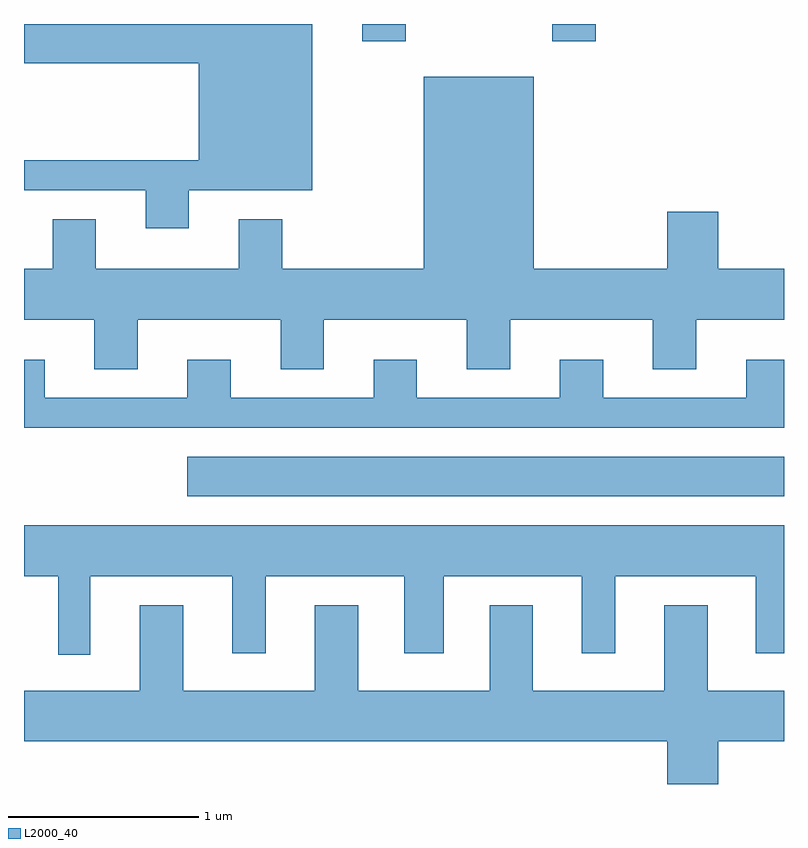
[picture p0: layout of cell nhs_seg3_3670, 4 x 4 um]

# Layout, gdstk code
import gdstk
lib = gdstk.Library(unit=1e-6, precision=1e-09)
def R(c, l, rs):  # rectangles x0, y0, x1, y1
    for r in rs: c.add(gdstk.rectangle(r[:2], r[2:], *l))
def P(c, l, *ps):  # polygons
    for p in ps: c.add(gdstk.Polygon(p, *l))
L2000_40 = (2000, 40)

nhs_seg3_3670 = lib.new_cell('nhs_seg3_3670')
R(nhs_seg3_3670, L2000_40, [(292.471,1249.406,295.611,1249.614), (293.391,1251.801,293.619,1251.892), (294.391,1251.801,294.619,1251.892)])
P(nhs_seg3_3670, L2000_40, [(292.479,1251.016),(293.129,1251.016),(293.129,1251.892),(291.611,1251.892),(291.611,1251.686),(292.531,1251.686),(292.531,1251.174),(291.611,1251.174),(291.611,1251.016),(292.251,1251.016),(292.251,1250.816),(292.479,1250.816)],
  [(292.741,1250.604),(291.989,1250.604),(291.989,1250.864),(291.761,1250.864),(291.761,1250.604),(291.611,1250.604),(291.611,1250.336),(291.981,1250.336),(291.981,1250.076),(292.209,1250.076),(292.209,1250.336),(292.961,1250.336),(292.961,1250.076),(293.189,1250.076),(293.189,1250.336),(293.941,1250.336),(293.941,1250.076),(294.169,1250.076),(294.169,1250.336),(294.921,1250.336),(294.921,1250.076),(295.149,1250.076),(295.149,1250.336),(295.611,1250.336),(295.611,1250.604),(295.264,1250.604),(295.264,1250.904),(294.996,1250.904),(294.996,1250.604),(294.294,1250.604),(294.294,1251.614),(293.716,1251.614),(293.716,1250.604),(292.969,1250.604),(292.969,1250.864),(292.741,1250.864)],
  [(295.611,1250.124),(295.411,1250.124),(295.411,1249.924),(294.659,1249.924),(294.659,1250.124),(294.431,1250.124),(294.431,1249.924),(293.679,1249.924),(293.679,1250.124),(293.451,1250.124),(293.451,1249.924),(292.699,1249.924),(292.699,1250.124),(292.471,1250.124),(292.471,1249.924),(291.719,1249.924),(291.719,1250.124),(291.611,1250.124),(291.611,1249.766),(295.611,1249.766)],
  [(291.959,1248.986),(292.706,1248.986),(292.706,1248.581),(292.884,1248.581),(292.884,1248.986),(293.611,1248.986),(293.611,1248.581),(293.819,1248.581),(293.819,1248.986),(294.546,1248.986),(294.546,1248.581),(294.724,1248.581),(294.724,1248.986),(295.461,1248.986),(295.461,1248.581),(295.611,1248.581),(295.611,1249.254),(291.611,1249.254),(291.611,1248.986),(291.791,1248.986),(291.791,1248.573),(291.959,1248.573)],
  [(295.264,1248.116),(295.611,1248.116),(295.611,1248.384),(295.209,1248.384),(295.209,1248.834),(294.981,1248.834),(294.981,1248.384),(294.289,1248.384),(294.289,1248.834),(294.061,1248.834),(294.061,1248.384),(293.369,1248.384),(293.369,1248.834),(293.141,1248.834),(293.141,1248.384),(292.449,1248.384),(292.449,1248.834),(292.221,1248.834),(292.221,1248.384),(291.611,1248.384),(291.611,1248.116),(294.996,1248.116),(294.996,1247.892),(295.264,1247.892)])

lib.write_gds('nhs_seg3_3670.gds')
